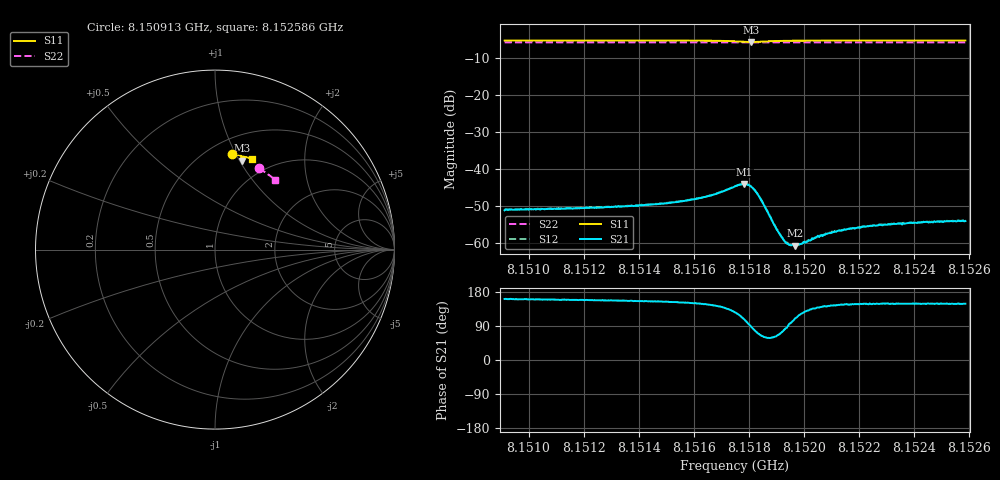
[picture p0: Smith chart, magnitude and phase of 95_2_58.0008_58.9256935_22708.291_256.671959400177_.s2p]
#  HZ  S  RI  R  50.00
! Rohde & Schwarz Vector Network Analyzer
! Rohde-Schwarz,ZNB20-2Port,1311601062101988,3.16
! Created: UTC 3/21/2024, 12:54:28 AM
! freq[Hz]  re:S11  im:S11  re:S21  im:S21  re:S12  im:S12  re:S22  im:S22
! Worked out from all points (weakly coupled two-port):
!   401 points, 8.150913 GHz to 8.152586 GHz, reference 50 ohm
!   highest |S21| = -44.05 dB at 8.151783 GHz (marker M1); lowest = -60.7 dB at 8.151967 GHz (marker M2)
!   lowest |S11| = -5.7 dB at 8.151808 GHz (marker M3), VSWR 3.15, Z = 37.8 + j51.2 ohm
!   |S11| at or under -10 dB: nowhere
!   |S22| runs from -5.8 to -5.8 dB; largest |S21 - S12| = 0.00014
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8.1509131e9  0.0973 0.5339  -0.00263 0.000904  -0.00268 0.000984  0.2458 0.4519
8.1511934e9  0.1174 0.5301  -0.00276 0.00109  -0.00279 0.00113  0.2614 0.4426
8.1514736e9  0.1384 0.5249  -0.00304 0.00147  -0.00304 0.00152  0.2767 0.4328
8.1516326e9  0.1522 0.5195  -0.00351 0.00219  -0.0035 0.00226  0.2852 0.427
8.1516869e9  0.1575 0.5156  -0.00371 0.00289  -0.00369 0.00297  0.288 0.4247
8.1517497e9  0.162 0.5056  -0.00341 0.00475  -0.00341 0.00479  0.291 0.422
8.1517831e9  0.158 0.4974  -0.00186 0.00599  -0.00177 0.00609  0.2925 0.4205
8.1518082e9  0.1497 0.4958  0.000225 0.00579  0.000318 0.00585  0.2935 0.4198
8.1518208e9  0.146 0.4982  0.00107 0.00511  0.00113 0.0051  0.2942 0.4195
8.1518375e9  0.1433 0.503  0.00159 0.00393  0.00164 0.00394  0.2947 0.4191
8.1518961e9  0.1485 0.5145  0.000787 0.00148  0.000801 0.00148  0.2981 0.4174
8.1519254e9  0.1527 0.5163  0.000247 0.00109  0.000258 0.00109  0.2998 0.4164
8.1519421e9  0.1549 0.5169  -4.44e-06 0.000979  2.01e-05 0.000999  0.3005 0.4155
8.1519546e9  0.1564 0.517  -0.000149 0.000922  -0.000147 0.000899  0.3014 0.4151
8.1519672e9  0.1579 0.5172  -0.000305 0.00087  -0.00032 0.000882  0.302 0.4146
8.1519881e9  0.1602 0.5171  -0.000508 0.000832  -0.000467 0.000853  0.3031 0.4139
8.1520299e9  0.1644 0.5168  -0.000829 0.000822  -0.00079 0.000806  0.3053 0.4122
8.152055e9  0.1667 0.5164  -0.000901 0.000807  -0.000954 0.00082  0.3065 0.4114
8.152122e9  0.1724 0.5152  -0.0012 0.000847  -0.00121 0.00084  0.31 0.4086
8.1522223e9  0.1802 0.5133  -0.00142 0.000877  -0.00139 0.000933  0.3151 0.4045
8.1523102e9  0.1867 0.5112  -0.00152 0.000946  -0.00153 0.000954  0.3195 0.4009
8.1525862e9  0.2055 0.5047  -0.0017 0.00104  -0.0017 0.00108  0.333 0.3894
